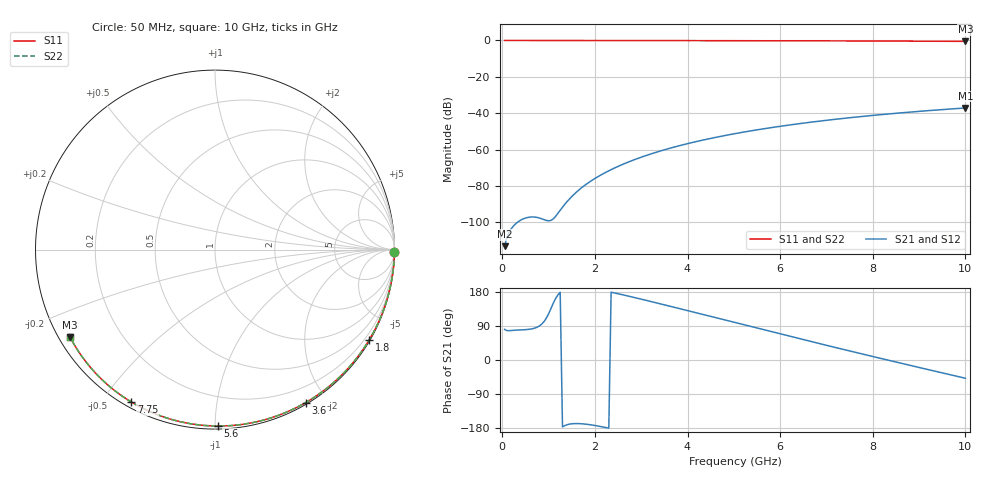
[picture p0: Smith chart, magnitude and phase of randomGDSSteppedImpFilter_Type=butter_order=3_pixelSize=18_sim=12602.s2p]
! freq	dB(S11)	phase(S11)	dB(S12)	phase(S12)
!  dB(S21)	phase(S21)	dB(S22)	phase(S22)
!S-par simulation data
#  GHz  S  DB  R 50
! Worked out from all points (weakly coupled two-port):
!   200 points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, 50 MHz to 10 GHz, reference 50 ohm
!   highest |S21| = -37.14 dB at 10 GHz (marker M1); lowest = -113.2 dB at 50 MHz (marker M2)
!   lowest |S11| = -0.5 dB at 10 GHz (marker M3), VSWR 34.40, Z = 1.57 - j13.9 ohm
!   |S11| at or under -10 dB: nowhere
!   |S22| runs from -0.5 to 0.0 dB; largest |S21 - S12| = 0
!   S11 on the Smith chart (normalised r, x): 50 MHz: open; 1.8 GHz: 0.03, -3.68; 3.6 GHz: 0.02, -1.76; 5.6 GHz: 0.02, -1.01; 7.75 GHz: 0.02, -0.59; 10 GHz: 0.03, -0.28
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0.05  -0.00 -0.9  -113.17 80.7  -113.17 80.7  -0.00 -0.9
0.45  -0.01 -7.7  -98.18 79.6  -98.18 79.6  -0.01 -7.7
0.9  -0.02 -15.4  -98.55 101.2  -98.55 101.2  -0.02 -15.4
1.3  -0.03 -22.1  -91.74 -176.5  -91.74 -176.5  -0.03 -22.1
1.75  -0.04 -29.6  -80.28 -168.7  -80.28 -168.7  -0.04 -29.6
1.8  -0.04 -30.4  -79.33 -169.3  -79.33 -169.3  -0.04 -30.4
1.95  -0.04 -32.9  -76.72 -171.8  -76.72 -171.8  -0.04 -32.9
2.1  -0.05 -35.4  -74.42 -175.0  -74.42 -175.0  -0.05 -35.4
2.3  -0.05 -38.6  -71.69 -179.8  -71.69 -179.8  -0.05 -38.6
2.5  -0.05 -41.9  -69.27 174.9  -69.27 174.9  -0.05 -41.9
2.9  -0.06 -48.3  -65.14 163.5  -65.14 163.5  -0.06 -48.3
3.4  -0.07 -56.2  -60.90 148.6  -60.90 148.6  -0.07 -56.2
3.6  -0.08 -59.3  -59.42 142.5  -59.42 142.5  -0.08 -59.3
4.3  -0.10 -70.1  -54.98 121.0  -54.98 121.0  -0.10 -70.1
5.05  -0.13 -81.2  -51.14 97.9  -51.14 97.9  -0.13 -81.2
5.6  -0.15 -89.1  -48.77 81.1  -48.77 81.1  -0.15 -89.1
6.15  -0.17 -96.9  -46.68 64.3  -46.68 64.3  -0.17 -96.9
6.7  -0.20 -104.6  -44.84 47.7  -44.84 47.7  -0.20 -104.6
7.75  -0.28 -118.8  -41.85 16.5  -41.85 16.5  -0.28 -118.8
8.35  -0.33 -126.8  -40.40 -1.0  -40.40 -1.0  -0.33 -126.8
9.2  -0.41 -138.1  -38.60 -25.5  -38.60 -25.5  -0.41 -138.1
10  -0.51 -148.8  -37.14 -48.2  -37.14 -48.2  -0.50 -148.8
